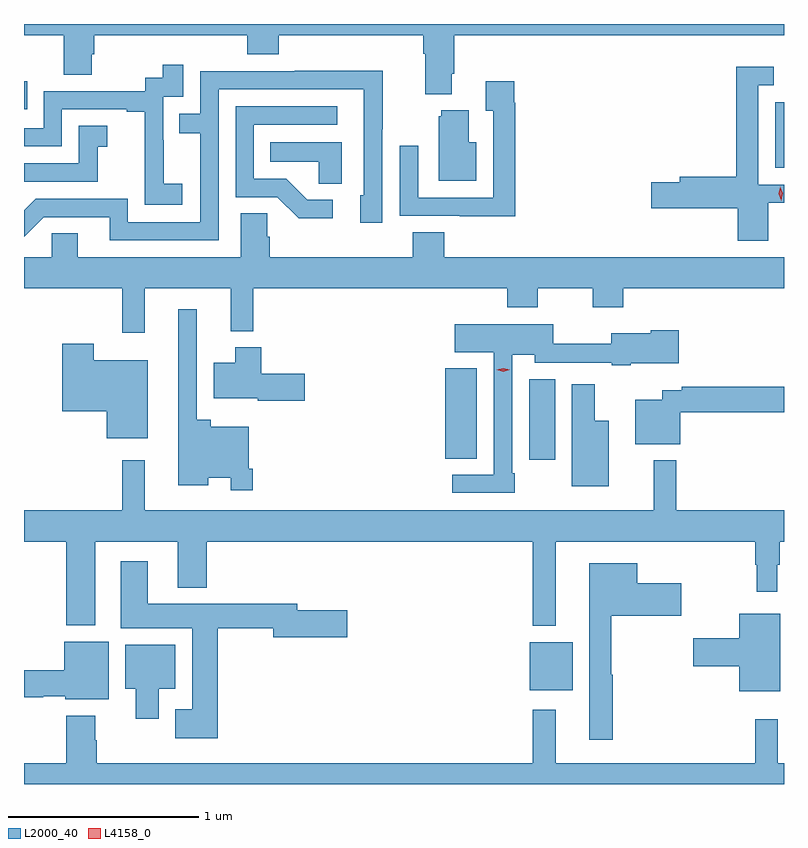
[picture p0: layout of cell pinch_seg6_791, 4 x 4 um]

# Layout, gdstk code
import gdstk
lib = gdstk.Library(unit=1e-6, precision=1e-09)
def R(c, l, rs):  # rectangles x0, y0, x1, y1
    for r in rs: c.add(gdstk.rectangle(r[:2], r[2:], *l))
def P(c, l, *ps):  # polygons
    for p in ps: c.add(gdstk.Polygon(p, *l))
L2000_40 = (2000, 40)
L4158_0 = (4158, 0)

pinch_seg6_791 = lib.new_cell('pinch_seg6_791')
R(pinch_seg6_791, L2000_40, [(194.444,963.869,194.671,964.123), (194.441,965.082,194.578,965.507), (194,965.089,194.167,965.563), (195.737,966.62,195.783,966.964), (191.783,966.927,191.801,967.075)])
P(pinch_seg6_791, L2000_40, [(194.035,967.114),(194.048,967.114),(194.048,967.316),(195.783,967.316),(195.783,967.376),(191.783,967.376),(191.783,967.316),(191.992,967.316),(191.992,967.108),(192.139,967.108),(192.139,967.218),(192.152,967.218),(192.152,967.316),(192.959,967.316),(192.959,967.217),(193.124,967.217),(193.124,967.316),(193.883,967.316),(193.883,967.22),(193.895,967.22),(193.895,967.007),(194.035,967.007)],
  [(192.616,966.535),(192.518,966.535),(192.518,966.764),(192.516,966.764),(192.516,966.993),(192.621,966.993),(192.621,967.162),(192.513,967.162),(192.513,967.092),(192.42,967.092),(192.42,967.023),(191.886,967.023),(191.886,966.828),(191.783,966.828),(191.783,966.732),(191.982,966.732),(191.982,966.927),(192.323,966.927),(192.323,966.915),(192.419,966.915),(192.419,966.631),(192.418,966.631),(192.418,966.425),(192.616,966.425)],
  [(195.7,966.435),(195.783,966.435),(195.783,966.531),(195.648,966.531),(195.648,967.053),(195.73,967.053),(195.73,967.15),(195.532,967.15),(195.532,966.572),(195.233,966.572),(195.233,966.542),(195.084,966.542),(195.084,966.407),(195.539,966.407),(195.539,966.234),(195.7,966.234)],
  [(192.807,967.032),(193.572,967.032),(193.572,966.474),(193.553,966.474),(193.553,966.33),(193.668,966.33),(193.668,966.823),(193.671,966.823),(193.671,967.13),(193.207,967.13),(193.207,967.128),(192.711,967.128),(192.711,966.903),(192.601,966.903),(192.601,966.802),(192.711,966.802),(192.711,966.333),(192.33,966.333),(192.33,966.456),(191.844,966.456),(191.783,966.395),(191.783,966.257),(191.886,966.36),(192.233,966.36),(192.233,966.237),(192.807,966.237)],
  [(194.369,966.962),(194.362,966.962),(194.362,967.075),(194.213,967.075),(194.213,966.919),(194.253,966.919),(194.253,966.462),(193.857,966.462),(193.857,966.736),(193.761,966.736),(193.761,966.366),(194.077,966.366),(194.077,966.365),(194.369,966.365)],
  [(193.408,966.45),(193.273,966.45),(193.162,966.561),(192.993,966.561),(192.993,966.846),(193.432,966.846),(193.432,966.942),(192.897,966.942),(192.897,966.465),(193.116,966.465),(193.229,966.353),(193.408,966.353)],
  [(194.164,966.754),(194.125,966.754),(194.125,966.922),(193.979,966.922),(193.979,966.891),(193.967,966.891),(193.967,966.551),(194.164,966.551)],
  [(192.171,966.731),(192.22,966.731),(192.22,966.841),(192.072,966.841),(192.072,966.642),(191.783,966.642),(191.783,966.546),(192.171,966.546)],
  [(193.456,966.754),(193.078,966.754),(193.078,966.65),(193.335,966.65),(193.335,966.535),(193.456,966.535)],
  [(192.419,965.984),(192.872,965.984),(192.872,965.759),(192.989,965.759),(192.989,965.984),(194.327,965.984),(194.327,965.885),(194.487,965.885),(194.487,965.984),(194.776,965.984),(194.776,965.885),(194.936,965.885),(194.936,965.984),(195.783,965.984),(195.783,966.148),(193.994,966.148),(193.994,966.281),(193.829,966.281),(193.829,966.148),(193.076,966.148),(193.076,966.257),(193.062,966.257),(193.062,966.38),(192.923,966.38),(192.923,966.148),(192.067,966.148),(192.067,966.275),(191.928,966.275),(191.928,966.148),(191.783,966.148),(191.783,965.984),(192.301,965.984),(192.301,965.751),(192.419,965.751)],
  [(192.986,965.035),(192.966,965.035),(192.966,965.257),(192.767,965.257),(192.767,965.293),(192.693,965.293),(192.693,965.875),(192.596,965.875),(192.596,964.949),(192.754,964.949),(192.754,964.988),(192.87,964.988),(192.87,964.923),(192.986,964.923)],
  [(194.365,965.011),(194.352,965.011),(194.352,965.636),(194.472,965.636),(194.472,965.592),(194.877,965.592),(194.877,965.58),(194.977,965.58),(194.977,965.591),(195.23,965.591),(195.23,965.764),(195.081,965.764),(195.081,965.749),(194.873,965.749),(194.873,965.693),(194.568,965.693),(194.568,965.797),(194.049,965.797),(194.049,965.648),(194.256,965.648),(194.256,965.004),(194.037,965.004),(194.037,964.908),(194.365,964.908)],
  [(192.433,965.605),(192.15,965.605),(192.15,965.692),(191.984,965.692),(191.984,965.339),(192.218,965.339),(192.218,965.195),(192.433,965.195)],
  [(193.261,965.535),(193.031,965.535),(193.031,965.674),(192.896,965.674),(192.896,965.593),(192.782,965.593),(192.782,965.405),(193.014,965.405),(193.014,965.393),(193.261,965.393)],
  [(194.86,965.287),(194.788,965.287),(194.788,965.479),(194.666,965.479),(194.666,964.943),(194.86,964.943)],
  [(195.237,965.332),(195.783,965.332),(195.783,965.468),(195.244,965.468),(195.244,965.449),(195.141,965.449),(195.141,965.398),(194.999,965.398),(194.999,965.165),(195.237,965.165)],
  [(194.581,964.652),(195.631,964.652),(195.631,964.529),(195.639,964.529),(195.639,964.389),(195.748,964.389),(195.748,964.529),(195.76,964.529),(195.76,964.652),(195.783,964.652),(195.783,964.816),(195.215,964.816),(195.215,965.08),(195.097,965.08),(195.097,964.816),(192.418,964.816),(192.418,965.08),(192.301,965.08),(192.301,964.816),(191.783,964.816),(191.783,964.652),(192.005,964.652),(192.005,964.211),(192.157,964.211),(192.157,964.652),(192.593,964.652),(192.593,964.409),(192.746,964.409),(192.746,964.652),(194.46,964.652),(194.46,964.208),(194.581,964.208)],
  [(192.803,964.195),(193.094,964.195),(193.094,964.148),(193.483,964.148),(193.483,964.29),(193.222,964.29),(193.222,964.324),(192.433,964.324),(192.433,964.549),(192.293,964.549),(192.293,964.196),(192.668,964.196),(192.668,963.769),(192.578,963.769),(192.578,963.617),(192.803,963.617)],
  [(194.881,963.95),(194.873,963.95),(194.873,964.262),(195.241,964.262),(195.241,964.432),(195.01,964.432),(195.01,964.537),(194.759,964.537),(194.759,963.609),(194.881,963.609)],
  [(195.763,964.273),(195.548,964.273),(195.548,964.142),(195.306,964.142),(195.306,963.995),(195.548,963.995),(195.548,963.863),(195.763,963.863)],
  [(192.229,964.126),(191.996,964.126),(191.996,963.974),(191.783,963.974),(191.783,963.832),(191.883,963.832),(191.883,963.839),(192,963.839),(192,963.821),(192.229,963.821)],
  [(192.493,963.878),(192.58,963.878),(192.58,964.108),(192.317,964.108),(192.317,963.878),(192.371,963.878),(192.371,963.72),(192.493,963.72)],
  [(195.783,963.484),(195.749,963.484),(195.749,963.718),(195.631,963.718),(195.631,963.484),(194.581,963.484),(194.581,963.766),(194.46,963.766),(194.46,963.484),(192.165,963.484),(192.165,963.605),(192.157,963.605),(192.157,963.736),(192.005,963.736),(192.005,963.484),(191.783,963.484),(191.783,963.376),(195.783,963.376)])
P(pinch_seg6_791, L4158_0, [(195.768,966.447),(195.768,966.448),(195.756,966.482),(195.764,966.518),(195.764,966.519),(195.764,966.518),(195.776,966.484),(195.768,966.448)],
  [(194.305,965.546),(194.27,965.556),(194.27,965.556),(194.27,965.556),(194.305,965.565),(194.34,965.555),(194.34,965.555),(194.34,965.555)])

lib.write_gds('pinch_seg6_791.gds')
